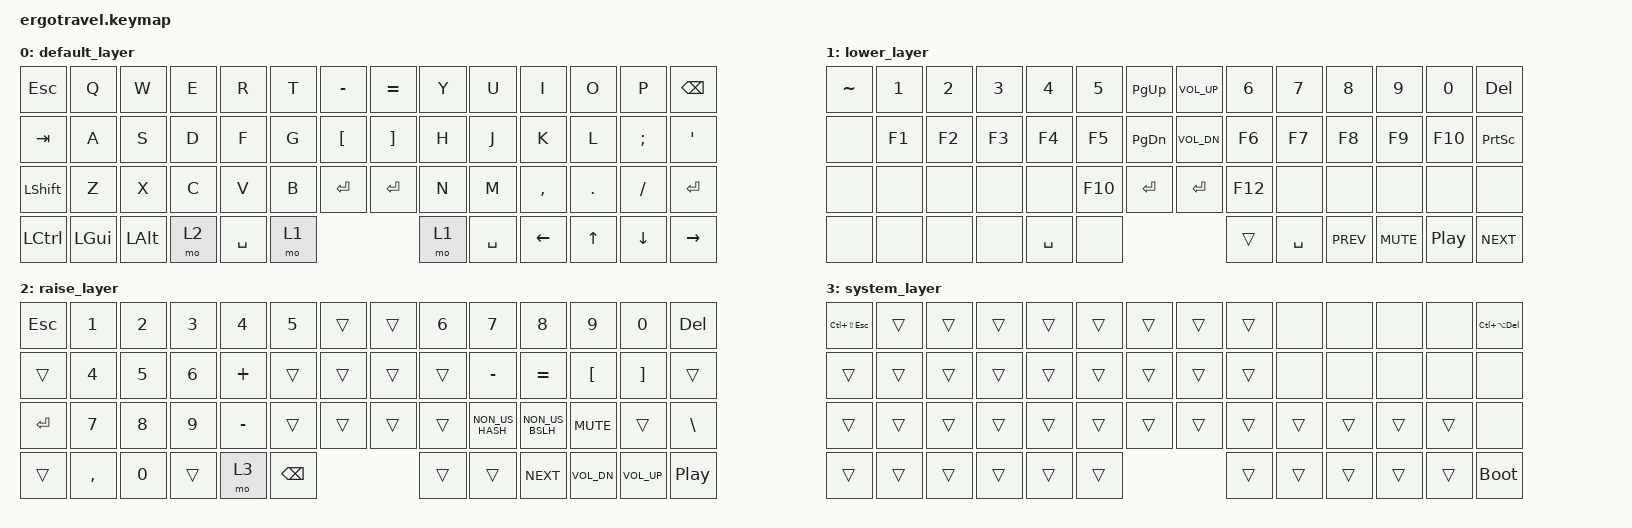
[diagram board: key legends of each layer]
#include <behaviors.dtsi>
#include <dt-bindings/zmk/keys.h>
#include <dt-bindings/zmk/bt.h>

/ {
    keymap {
        compatible = "zmk,keymap";

        // LAYER 0 (Default Layer)
        default_layer {
            bindings = <
                &kp ESC   &kp Q     &kp W     &kp E     &kp R     &kp T     &kp MINUS   &kp EQUAL   &kp Y     &kp U     &kp I     &kp O     &kp P     &kp BSPC
                &kp TAB   &kp A     &kp S     &kp D     &kp F     &kp G     &kp LBKT    &kp RBKT    &kp H     &kp J     &kp K     &kp L     &kp SEMI  &kp SQT
                &kp LSHFT &kp Z     &kp X     &kp C     &kp V     &kp B     &kp RET     &kp RET     &kp N     &kp M     &kp COMMA &kp DOT   &kp FSLH  &kp RET
                &kp LCTRL &kp LGUI  &kp LALT  &mo 2     &kp SPACE &mo 1                             &mo 1     &kp SPACE &kp LEFT  &kp UP    &kp DOWN  &kp RIGHT
            >;
        };

        // LAYER 1 (Lower / Media & Function Layer)
        lower_layer {
            bindings = <
                &kp TILDE &kp N1    &kp N2    &kp N3    &kp N4    &kp N5    &kp PG_UP   &kp C_VOL_UP &kp N6    &kp N7    &kp N8    &kp N9    &kp N0    &kp DEL
                &none     &kp F1    &kp F2    &kp F3    &kp F4    &kp F5    &kp PG_DN   &kp C_VOL_DN &kp F6    &kp F7    &kp F8    &kp F9    &kp F10   &kp PSCRN
                &none     &none     &none     &none     &none     &kp F10   &kp RET     &kp RET      &kp F12   &none     &none     &none     &none     &none
                &none     &none     &none     &none     &kp SPACE &none                              &trans    &kp SPACE &kp C_PREV &kp C_MUTE &kp C_PP &kp C_NEXT
            >;
        };

        // LAYER 2 (Raise / Numpad & Symbols Layer)
        raise_layer {
            bindings = <
                &kp ESC   &kp N1    &kp N2    &kp N3    &kp N4    &kp N5    &trans      &trans      &kp N6    &kp N7    &kp N8    &kp N9    &kp N0    &kp DEL
                &trans    &kp N4    &kp N5    &kp N6    &kp PLUS  &trans    &trans      &trans      &trans    &kp MINUS &kp EQUAL &kp LBKT  &kp RBKT  &trans
                &kp RET   &kp N7    &kp N8    &kp N9    &kp MINUS &trans    &trans      &trans      &trans    &kp NON_US_HASH &kp NON_US_BSLH &kp C_MUTE &trans &kp BSLH
                &trans    &kp COMMA &kp N0    &trans    &mo 3     &kp BSPC                          &trans    &trans    &kp C_NEXT &kp C_VOL_DN &kp C_VOL_UP &kp C_PP
            >;
        };

        // LAYER 3 (System & Reset Layer)
        system_layer {
            bindings = <
                &kp LC(LS(ESC)) &trans &trans &trans   &trans    &trans    &trans      &trans      &trans    &none     &none     &none     &none     &kp LC(LA(DEL))
                &trans    &trans    &trans    &trans    &trans    &trans    &trans      &trans      &trans    &none     &none     &none     &none     &none
                &trans    &trans    &trans    &trans    &trans    &trans    &trans      &trans      &trans    &trans    &trans    &trans    &trans    &none
                &trans    &trans    &trans    &trans    &trans    &trans                            &trans    &trans    &trans    &trans    &trans    &bootloader
            >;
        };
    };
};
